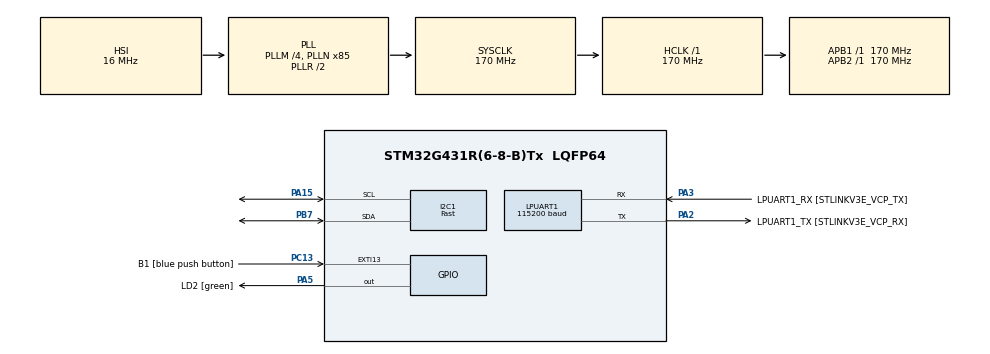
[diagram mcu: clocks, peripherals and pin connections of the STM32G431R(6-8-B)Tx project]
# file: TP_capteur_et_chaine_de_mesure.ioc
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I2C1.I2C_Speed_Mode=I2C_Fast
I2C1.Timing=0x10802D9B
LPUART1.BaudRate=115200
LPUART1.WordLength=UART_WORDLENGTH_8B
Mcu.Family=STM32G4
Mcu.Name=STM32G431R(6-8-B)Tx
Mcu.Package=LQFP64
NVIC.PriorityGroup=NVIC_PRIORITYGROUP_4
PA13.GPIO_Label=T_SWDIO
PA13.Mode=Serial_Wire
PA13.Signal=SYS_JTMS-SWDIO
PA14.GPIO_Label=T_SWCLK
PA14.Mode=Serial_Wire
PA14.Signal=SYS_JTCK-SWCLK
PA15.Mode=I2C
PA15.Signal=I2C1_SCL
PA2.GPIO_Label=LPUART1_TX [STLINKV3E_VCP_RX]
PA2.Mode=Asynchronous
PA2.Signal=LPUART1_TX
PA3.GPIO_Label=LPUART1_RX [STLINKV3E_VCP_TX]
PA3.Mode=Asynchronous
PA3.Signal=LPUART1_RX
PA5.GPIO_Label=LD2 [green]
PA5.Signal=GPIO_Output
PB3.GPIO_Label=T_SWO
PB3.Signal=SYS_JTDO-SWO
PB7.Mode=I2C
PB7.Signal=I2C1_SDA
PC13.GPIO_Label=B1 [blue push button]
PC13.Signal=GPXTI13
PC14-OSC32_IN.Mode=LSE-External-Oscillator
PC14-OSC32_IN.Signal=RCC_OSC32_IN
PC15-OSC32_OUT.Mode=LSE-External-Oscillator
PC15-OSC32_OUT.Signal=RCC_OSC32_OUT
PF0-OSC_IN.Mode=HSE-External-Oscillator
PF0-OSC_IN.Signal=RCC_OSC_IN
PF1-OSC_OUT.Mode=HSE-External-Oscillator
PF1-OSC_OUT.Signal=RCC_OSC_OUT
ProjectManager.HeapSize=0x200
ProjectManager.StackSize=0x400
ProjectManager.TargetToolchain=STM32CubeIDE
RCC.ADC12Freq_Value=170000000
RCC.AHBFreq_Value=170000000
RCC.APB1Freq_Value=170000000
RCC.APB1TimFreq_Value=170000000
RCC.APB2Freq_Value=170000000
RCC.APB2TimFreq_Value=170000000
RCC.CortexFreq_Value=170000000
RCC.EXTERNAL_CLOCK_VALUE=12288000
RCC.HCLKFreq_Value=170000000
RCC.HSE_VALUE=24000000
RCC.HSI48_VALUE=48000000
RCC.HSI_VALUE=16000000
RCC.PLLM=RCC_PLLM_DIV4
RCC.PLLN=85
RCC.RTCClockSelection=RCC_RTCCLKSOURCE_LSE
RCC.SYSCLKFreq_VALUE=170000000
RCC.SYSCLKSource=RCC_SYSCLKSOURCE_PLLCLK
RCC.USBFreq_Value=170000000
RCC.VCOOutputFreq_Value=340000000
VP_SYS_VS_DBSignals.Mode=DisableDeadBatterySignals
board=NUCLEO-G431RB

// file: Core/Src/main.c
/* USER CODE BEGIN Header */
/**
  ******************************************************************************
  * @file           : main.c
  * @brief          : Main program body
  ******************************************************************************
  * @attention
  *
  * Copyright (c) 2022 STMicroelectronics.
  * All rights reserved.
  *
  * This software is licensed under terms that can be found in the LICENSE file
  * in the root directory of this software component.
  * If no LICENSE file comes with this software, it is provided AS-IS.
  *
  ******************************************************************************
  */
/* USER CODE END Header */
#include "main.h"

/* USER CODE BEGIN Includes */
#include "Const.h"
#include "stdio.h"
#include <math.h>
#include "function.h"
/* USER CODE END Includes */

I2C_HandleTypeDef hi2c1;

UART_HandleTypeDef hlpuart1;

/* USER CODE BEGIN PV */

char mess1[30];
double Temperature = 0;
double Acceleration[3] = {0};
double norme_vecteur_gravite = 0;
double donnees_Gyrometre[3] ={0};
double norme_vecteur_Gyrometre =0;
double donnees_mag[3]={0};
double noise[3] = {0};
double tableau_moyenne[3]={0};
double donnees_B[300][3];

/* USER CODE END PV */

void SystemClock_Config(void);
static void MX_GPIO_Init(void);
static void MX_LPUART1_UART_Init(void);
static void MX_I2C1_Init(void);

/* USER CODE BEGIN 0 */

int __io_putchar(int ch) {
HAL_UART_Transmit(&hlpuart1, (uint8_t *)&ch, 1, HAL_MAX_DELAY);
return ch;
}

/* USER CODE END 0 */

int main(void)
{

  /* MCU Configuration--------------------------------------------------------*/

  /* Reset of all peripherals, Initializes the Flash interface and the Systick. */
  HAL_Init();

  /* Configure the system clock */
  SystemClock_Config();

  /* Initialize all configured peripherals */
  MX_GPIO_Init();
  MX_LPUART1_UART_Init();
  MX_I2C1_Init();
  /* USER CODE BEGIN 2 */

  int x=0;
  int i=0;
  int Devices[100]={0};

 uint8_t pData[100] = {0};

 // Initialisation du capteur

 Init(&hi2c1);

 // vérification identité capteur MPU-9250

 pData[0]= WHO_AM_I_MPU9250;
  if(HAL_I2C_Master_Transmit(&hi2c1, MPU_ADD, pData, 1, HAL_MAX_DELAY) != HAL_OK )
  {
	  printf("il y a une erreur avec I2C Master Transmit \r\n");
  }
  if(HAL_I2C_Master_Receive(&hi2c1, MPU_ADD, pData, 1, HAL_MAX_DELAY) != HAL_OK )
  {
	  printf("il y a une erreur avec I2C Master Receive \r\n");
  }

  printf(" L'identifiant du capteur est : %x \r\n", pData[0]);
  if((pData[0] =! 0x71))
  {
	  printf("ce n'est pas le bon capteur \r\n");
  }
  else
	  printf("MPU-9250 identified \r\n");

  // vérification identité AK8963C (magnétomètre)

  pData[0]= WHO_AM_I_AK8963;
    if(HAL_I2C_Master_Transmit(&hi2c1, MAGNETO_ADD, pData, 1, HAL_MAX_DELAY) != HAL_OK )
    {
  	  printf("il y a une erreur avec I2C Master Transmit \r\n");
    }
    if(HAL_I2C_Master_Receive(&hi2c1, MAGNETO_ADD, pData, 1, HAL_MAX_DELAY) != HAL_OK )
    {
  	  printf("il y a une erreur avec I2C Master Receive \r\n");
    }

    printf(" L'identifiant du magnétomètre est : %x \r\n", pData[0]);
    if((pData[0] =! 0x48))
    {
  	  printf("ce n'est pas le bon capteur \r\n  ****** \r\n ****** \r\n ****** \r\n");
    }
    else
  	  printf("AK8963C identified \r\n  ****** \r\n ****** \r\n ****** \r\n");

// check les périphériques i2c disponibles

  for (i=0;i<256;i++){
       	  if(HAL_I2C_IsDeviceReady(&hi2c1, i, 4, 20)==HAL_OK){
       		  Devices[x]=i;
       		  printf("%d \r\n",Devices[x]);
       		  x=x+1;
       	  }

         }

  /* USER CODE END 2 */

  /* Infinite loop */
  while (1)
  {

    /* USER CODE BEGIN 3 */

/*
	  Measure_T(&hi2c1, &Temperature);
	 	  printf("Temperature = %.2f C \r\n", Temperature);

	 	  HAL_Delay(2000);

	 	  Measure_A(&hi2c1, Acceleration);
	 	  printf("Acceleration selon x = %.4f m/s2 \r\n", Acceleration[0]);
	 	  HAL_Delay(100);
	 	  printf("Acceleration selon y = %.4f m/s2 \r\n", Acceleration[1]);
	 	  HAL_Delay(100);
	 	  printf("Acceleration selon z = %.4f m/s2 \r\n ****** \r\n", Acceleration[2]);
	 	  HAL_Delay(100);
	 	  norme_vecteur_gravite = sqrt(Acceleration[0]/9.81*Acceleration[0]/9.81+Acceleration[1]/9.81*Acceleration[1]/9.81+Acceleration[2]/9.81*Acceleration[2]/9.81);
	 	  printf("norme du vecteur gravite = %.4f \r\n ****** \r\n ****** \r\n ****** \r\n", norme_vecteur_gravite);
	 	  HAL_Delay(2000);

	 	  Measure_Vitesse_angulaire(&hi2c1, donnees_Gyrometre);
	 	  printf("Vitesse angulaire selon x = %.4f deg/sec \r\n", donnees_Gyrometre[0]);
	 	  printf("Vitesse angulaire selon y = %.4f deg/sec \r\n", donnees_Gyrometre[1]);
	 	  printf("Vitesse angulaire selon z = %.4f deg/sec \r\n ****** \r\n", donnees_Gyrometre[2]);

	 	  norme_vecteur_Gyrometre = sqrt(donnees_Gyrometre[0]*donnees_Gyrometre[0]+donnees_Gyrometre[1]*donnees_Gyrometre[1]+donnees_Gyrometre[2]*donnees_Gyrometre[2]);
	 	  printf("norme du vecteur rotation = %.4f deg/sec \r\n ****** \r\n ****** \r\n ****** \r\n", norme_vecteur_Gyrometre);
*/
/*	 	  HAL_Delay(200);

	 	  Noise_G(&hi2c1, noise);
	 	  printf("Veff bruit selon x = %.4f deg/sec \r\n", noise[0]);
	 	  printf("Veff bruit selon y = %.4f deg/sec \r\n", noise[1]);
	 	  printf("Veff bruit selon z = %.4f deg/sec \r\n ****** \r\n", noise[2]);

	 	  HAL_Delay(2000);
*/
/*
	 	  Measure_M(&hi2c1, donnees_mag);
	 	  printf("champ magnetique selon x = %.4f µT \r\n", donnees_mag[0]);
	 	  printf("champ magnetique selon y = %.4f µT \r\n", donnees_mag[1]);
	 	  printf("champ magnetique selon z = %.4f µT \r\n ****** \r\n", donnees_mag[2]);

	 	  double norme_vecteur_mag = sqrt(donnees_mag[0]*donnees_mag[0]+donnees_mag[1]*donnees_mag[1]+donnees_mag[2]*donnees_mag[2]);
	 	  printf("norme du vecteur champ magnetique = %.4f µT \r\n ****** \r\n ****** \r\n ****** \r\n", norme_vecteur_mag);

	 	  HAL_Delay(2000);
*/

	  	  Average(&hi2c1, tableau_moyenne);
	  	  printf("valeur moyenne de wx calibré et immobile : wx = %.4f \r\n", tableau_moyenne[0]);
	  	  printf("valeur moyenne de wy calibré et immobile : wy = %.4f \r\n", tableau_moyenne[1]);
	  	  printf("valeur moyenne de wz calibré et immobile : wz = %.4f \r\n ******* \r\n", tableau_moyenne[2]);

	  	  for(i=0;i<300;i++){
	  		Measure_M(&hi2c1, donnees_mag);
	  		donnees_B[i][0] = donnees_mag[0];
	  		donnees_B[i][1] = donnees_mag[1];
	  		donnees_B[i][2] = donnees_mag[2];
	  		HAL_Delay(50);
	  	  }

  }
  /* USER CODE END 3 */
}

void SystemClock_Config(void)
{
  RCC_OscInitTypeDef RCC_OscInitStruct = {0};
  RCC_ClkInitTypeDef RCC_ClkInitStruct = {0};

  /** Configure the main internal regulator output voltage
  */
  HAL_PWREx_ControlVoltageScaling(PWR_REGULATOR_VOLTAGE_SCALE1_BOOST);

  /** Initializes the RCC Oscillators according to the specified parameters
  * in the RCC_OscInitTypeDef structure.
  */
  RCC_OscInitStruct.OscillatorType = RCC_OSCILLATORTYPE_HSI;
  RCC_OscInitStruct.HSIState = RCC_HSI_ON;
  RCC_OscInitStruct.HSICalibrationValue = RCC_HSICALIBRATION_DEFAULT;
  RCC_OscInitStruct.PLL.PLLState = RCC_PLL_ON;
  RCC_OscInitStruct.PLL.PLLSource = RCC_PLLSOURCE_HSI;
  RCC_OscInitStruct.PLL.PLLM = RCC_PLLM_DIV4;
  RCC_OscInitStruct.PLL.PLLN = 85;
  RCC_OscInitStruct.PLL.PLLP = RCC_PLLP_DIV2;
  RCC_OscInitStruct.PLL.PLLQ = RCC_PLLQ_DIV2;
  RCC_OscInitStruct.PLL.PLLR = RCC_PLLR_DIV2;
  if (HAL_RCC_OscConfig(&RCC_OscInitStruct) != HAL_OK)
  {
    Error_Handler();
  }

  /** Initializes the CPU, AHB and APB buses clocks
  */
  RCC_ClkInitStruct.ClockType = RCC_CLOCKTYPE_HCLK|RCC_CLOCKTYPE_SYSCLK
                              |RCC_CLOCKTYPE_PCLK1|RCC_CLOCKTYPE_PCLK2;
  RCC_ClkInitStruct.SYSCLKSource = RCC_SYSCLKSOURCE_PLLCLK;
  RCC_ClkInitStruct.AHBCLKDivider = RCC_SYSCLK_DIV1;
  RCC_ClkInitStruct.APB1CLKDivider = RCC_HCLK_DIV1;
  RCC_ClkInitStruct.APB2CLKDivider = RCC_HCLK_DIV1;

  if (HAL_RCC_ClockConfig(&RCC_ClkInitStruct, FLASH_LATENCY_4) != HAL_OK)
  {
    Error_Handler();
  }
}

static void MX_I2C1_Init(void)
{

  hi2c1.Instance = I2C1;
  hi2c1.Init.Timing = 0x10802D9B;
  hi2c1.Init.OwnAddress1 = 0;
  hi2c1.Init.AddressingMode = I2C_ADDRESSINGMODE_7BIT;
  hi2c1.Init.DualAddressMode = I2C_DUALADDRESS_DISABLE;
  hi2c1.Init.OwnAddress2 = 0;
  hi2c1.Init.OwnAddress2Masks = I2C_OA2_NOMASK;
  hi2c1.Init.GeneralCallMode = I2C_GENERALCALL_DISABLE;
  hi2c1.Init.NoStretchMode = I2C_NOSTRETCH_DISABLE;
  if (HAL_I2C_Init(&hi2c1) != HAL_OK)
  {
    Error_Handler();
  }

  /** Configure Analogue filter
  */
  if (HAL_I2CEx_ConfigAnalogFilter(&hi2c1, I2C_ANALOGFILTER_ENABLE) != HAL_OK)
  {
    Error_Handler();
  }

  /** Configure Digital filter
  */
  if (HAL_I2CEx_ConfigDigitalFilter(&hi2c1, 0) != HAL_OK)
  {
    Error_Handler();
  }

}

static void MX_LPUART1_UART_Init(void)
{

  hlpuart1.Instance = LPUART1;
  hlpuart1.Init.BaudRate = 115200;
  hlpuart1.Init.WordLength = UART_WORDLENGTH_8B;
  hlpuart1.Init.StopBits = UART_STOPBITS_1;
  hlpuart1.Init.Parity = UART_PARITY_NONE;
  hlpuart1.Init.Mode = UART_MODE_TX_RX;
  hlpuart1.Init.HwFlowCtl = UART_HWCONTROL_NONE;
  hlpuart1.Init.OneBitSampling = UART_ONE_BIT_SAMPLE_DISABLE;
  hlpuart1.Init.ClockPrescaler = UART_PRESCALER_DIV1;
  hlpuart1.AdvancedInit.AdvFeatureInit = UART_ADVFEATURE_NO_INIT;
  if (HAL_UART_Init(&hlpuart1) != HAL_OK)
  {
    Error_Handler();
  }
  if (HAL_UARTEx_SetTxFifoThreshold(&hlpuart1, UART_TXFIFO_THRESHOLD_1_8) != HAL_OK)
  {
    Error_Handler();
  }
  if (HAL_UARTEx_SetRxFifoThreshold(&hlpuart1, UART_RXFIFO_THRESHOLD_1_8) != HAL_OK)
  {
    Error_Handler();
  }
  if (HAL_UARTEx_DisableFifoMode(&hlpuart1) != HAL_OK)
  {
    Error_Handler();
  }

}

static void MX_GPIO_Init(void)
{
  GPIO_InitTypeDef GPIO_InitStruct = {0};

  /* GPIO Ports Clock Enable */
  __HAL_RCC_GPIOC_CLK_ENABLE();
  __HAL_RCC_GPIOF_CLK_ENABLE();
  __HAL_RCC_GPIOA_CLK_ENABLE();
  __HAL_RCC_GPIOB_CLK_ENABLE();

  /*Configure GPIO pin Output Level */
  HAL_GPIO_WritePin(LD2_GPIO_Port, LD2_Pin, GPIO_PIN_RESET);

  /*Configure GPIO pin : B1_Pin */
  GPIO_InitStruct.Pin = B1_Pin;
  GPIO_InitStruct.Mode = GPIO_MODE_IT_RISING;
  GPIO_InitStruct.Pull = GPIO_NOPULL;
  HAL_GPIO_Init(B1_GPIO_Port, &GPIO_InitStruct);

  /*Configure GPIO pin : LD2_Pin */
  GPIO_InitStruct.Pin = LD2_Pin;
  GPIO_InitStruct.Mode = GPIO_MODE_OUTPUT_PP;
  GPIO_InitStruct.Pull = GPIO_NOPULL;
  GPIO_InitStruct.Speed = GPIO_SPEED_FREQ_LOW;
  HAL_GPIO_Init(LD2_GPIO_Port, &GPIO_InitStruct);

}

void Error_Handler(void)
{
  __disable_irq();
  while (1)
  {
  }
}
